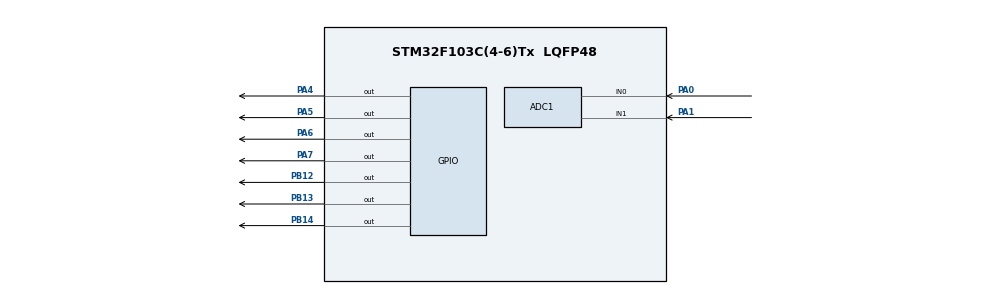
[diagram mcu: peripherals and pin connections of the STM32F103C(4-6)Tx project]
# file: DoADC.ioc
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ADC1.Channel-0\#ChannelRegularConversion=ADC_CHANNEL_0
ADC1.NbrOfConversionFlag=1
ADC1.Rank-0\#ChannelRegularConversion=1
ADC1.SamplingTime-0\#ChannelRegularConversion=ADC_SAMPLETIME_1CYCLE_5
ADC1.master=1
Mcu.Family=STM32F1
Mcu.Name=STM32F103C(4-6)Tx
Mcu.Package=LQFP48
NVIC.PriorityGroup=NVIC_PRIORITYGROUP_4
PA0-WKUP.Signal=ADCx_IN0
PA1.Signal=ADCx_IN1
PA13.Mode=Serial_Wire
PA13.Signal=SYS_JTMS-SWDIO
PA14.Mode=Serial_Wire
PA14.Signal=SYS_JTCK-SWCLK
PA4.Signal=GPIO_Output
PA5.Signal=GPIO_Output
PA6.Signal=GPIO_Output
PA7.Signal=GPIO_Output
PB12.Signal=GPIO_Output
PB13.Signal=GPIO_Output
PB14.Signal=GPIO_Output
ProjectManager.HeapSize=0x200
ProjectManager.StackSize=0x400
ProjectManager.TargetToolchain=MDK-ARM V5
RCC.APB1Freq_Value=8000000
RCC.APB2Freq_Value=8000000
SH.ADCx_IN0.0=ADC1_IN0,IN0
SH.ADCx_IN1.0=ADC1_IN1,IN1
board=custom

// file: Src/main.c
/**
  ******************************************************************************
  * @file           : main.c
  * @brief          : Main program body
  ******************************************************************************
  ** This notice applies to any and all portions of this file
  * that are not between comment pairs USER CODE BEGIN and
  * USER CODE END. Other portions of this file, whether
  * inserted by the user or by software development tools
  * are owned by their respective copyright owners.
  *
  * COPYRIGHT(c) 2018 STMicroelectronics
  *
  * Redistribution and use in source and binary forms, with or without modification,
  * are permitted provided that the following conditions are met:
  *   1. Redistributions of source code must retain the above copyright notice,
  *      this list of conditions and the following disclaimer.
  *   2. Redistributions in binary form must reproduce the above copyright notice,
  *      this list of conditions and the following disclaimer in the documentation
  *      and/or other materials provided with the distribution.
  *   3. Neither the name of STMicroelectronics nor the names of its contributors
  *      may be used to endorse or promote products derived from this software
  *      without specific prior written permission.
  *
  * THIS SOFTWARE IS PROVIDED BY THE COPYRIGHT HOLDERS AND CONTRIBUTORS "AS IS"
  * AND ANY EXPRESS OR IMPLIED WARRANTIES, INCLUDING, BUT NOT LIMITED TO, THE
  * IMPLIED WARRANTIES OF MERCHANTABILITY AND FITNESS FOR A PARTICULAR PURPOSE ARE
  * DISCLAIMED. IN NO EVENT SHALL THE COPYRIGHT HOLDER OR CONTRIBUTORS BE LIABLE
  * FOR ANY DIRECT, INDIRECT, INCIDENTAL, SPECIAL, EXEMPLARY, OR CONSEQUENTIAL
  * DAMAGES (INCLUDING, BUT NOT LIMITED TO, PROCUREMENT OF SUBSTITUTE GOODS OR
  * SERVICES; LOSS OF USE, DATA, OR PROFITS; OR BUSINESS INTERRUPTION) HOWEVER
  * CAUSED AND ON ANY THEORY OF LIABILITY, WHETHER IN CONTRACT, STRICT LIABILITY,
  * OR TORT (INCLUDING NEGLIGENCE OR OTHERWISE) ARISING IN ANY WAY OUT OF THE USE
  * OF THIS SOFTWARE, EVEN IF ADVISED OF THE POSSIBILITY OF SUCH DAMAGE.
  *
  ******************************************************************************
  */
#include "main.h"
#include "stm32f1xx_hal.h"

/* USER CODE BEGIN Includes */

#include "textLCD.h"

/* USER CODE END Includes */

ADC_HandleTypeDef hadc1;

/* USER CODE BEGIN PV */
/* Private variables ---------------------------------------------------------*/

char lcdBuffer[32];

__IO uint32_t gtAdc1;
__IO uint32_t gtAdc2;

float gtNhietDo;
float gtDienAp;

/* USER CODE END PV */

void SystemClock_Config(void);
static void MX_GPIO_Init(void);
static void MX_ADC1_Init(void);

/* USER CODE BEGIN PFP */
/* Private function prototypes -----------------------------------------------*/

/* USER CODE END PFP */

int main(void)
{

  /* MCU Configuration----------------------------------------------------------*/

  /* Reset of all peripherals, Initializes the Flash interface and the Systick. */
  HAL_Init();

  /* Configure the system clock */
  SystemClock_Config();

  /* Initialize all configured peripherals */
  MX_GPIO_Init();
  MX_ADC1_Init();
  /* USER CODE BEGIN 2 */

  lcd_init();

  /* USER CODE END 2 */

  /* Infinite loop */
  /* USER CODE BEGIN WHILE */
  while (1)
  {
    HAL_ADC_Start(&hadc1); // Khoi tao chuyen doi cua bo ADC1
    if(HAL_ADC_PollForConversion(&hadc1, 1000) == HAL_OK)
    {
      gtAdc1 = HAL_ADC_GetValue(&hadc1);

      sprintf(lcdBuffer, "ADC0: %0.4d", gtAdc1);
      lcd_gotoxy(1,1);
      lcd_puts(lcdBuffer);

      HAL_Delay(100);
    }
    HAL_ADC_Stop(&hadc1);

    gtDienAp = ((float)gtAdc1/4095) * 3.3;
    sprintf(lcdBuffer, "DienAp: %0.3f", gtDienAp);
    lcd_gotoxy(1,2);
    lcd_puts(lcdBuffer);

    HAL_Delay(100);

  /* USER CODE END WHILE */

  }

}

void SystemClock_Config(void)
{

  RCC_OscInitTypeDef RCC_OscInitStruct;
  RCC_ClkInitTypeDef RCC_ClkInitStruct;
  RCC_PeriphCLKInitTypeDef PeriphClkInit;

    /**Initializes the CPU, AHB and APB busses clocks
    */
  RCC_OscInitStruct.OscillatorType = RCC_OSCILLATORTYPE_HSI;
  RCC_OscInitStruct.HSIState = RCC_HSI_ON;
  RCC_OscInitStruct.HSICalibrationValue = 16;
  RCC_OscInitStruct.PLL.PLLState = RCC_PLL_NONE;
  if (HAL_RCC_OscConfig(&RCC_OscInitStruct) != HAL_OK)
  {
    _Error_Handler(__FILE__, __LINE__);
  }

    /**Initializes the CPU, AHB and APB busses clocks
    */
  RCC_ClkInitStruct.ClockType = RCC_CLOCKTYPE_HCLK|RCC_CLOCKTYPE_SYSCLK
                              |RCC_CLOCKTYPE_PCLK1|RCC_CLOCKTYPE_PCLK2;
  RCC_ClkInitStruct.SYSCLKSource = RCC_SYSCLKSOURCE_HSI;
  RCC_ClkInitStruct.AHBCLKDivider = RCC_SYSCLK_DIV1;
  RCC_ClkInitStruct.APB1CLKDivider = RCC_HCLK_DIV1;
  RCC_ClkInitStruct.APB2CLKDivider = RCC_HCLK_DIV1;

  if (HAL_RCC_ClockConfig(&RCC_ClkInitStruct, FLASH_LATENCY_0) != HAL_OK)
  {
    _Error_Handler(__FILE__, __LINE__);
  }

  PeriphClkInit.PeriphClockSelection = RCC_PERIPHCLK_ADC;
  PeriphClkInit.AdcClockSelection = RCC_ADCPCLK2_DIV2;
  if (HAL_RCCEx_PeriphCLKConfig(&PeriphClkInit) != HAL_OK)
  {
    _Error_Handler(__FILE__, __LINE__);
  }

    /**Configure the Systick interrupt time
    */
  HAL_SYSTICK_Config(HAL_RCC_GetHCLKFreq()/1000);

    /**Configure the Systick
    */
  HAL_SYSTICK_CLKSourceConfig(SYSTICK_CLKSOURCE_HCLK);

  /* SysTick_IRQn interrupt configuration */
  HAL_NVIC_SetPriority(SysTick_IRQn, 0, 0);
}

/* ADC1 init function */
static void MX_ADC1_Init(void)
{

  ADC_ChannelConfTypeDef sConfig;

    /**Common config
    */
  hadc1.Instance = ADC1;
  hadc1.Init.ScanConvMode = ADC_SCAN_DISABLE;
  hadc1.Init.ContinuousConvMode = DISABLE;
  hadc1.Init.DiscontinuousConvMode = DISABLE;
  hadc1.Init.ExternalTrigConv = ADC_SOFTWARE_START;
  hadc1.Init.DataAlign = ADC_DATAALIGN_RIGHT;
  hadc1.Init.NbrOfConversion = 1;
  if (HAL_ADC_Init(&hadc1) != HAL_OK)
  {
    _Error_Handler(__FILE__, __LINE__);
  }

    /**Configure Regular Channel
    */
  sConfig.Channel = ADC_CHANNEL_0;
  sConfig.Rank = ADC_REGULAR_RANK_1;
  sConfig.SamplingTime = ADC_SAMPLETIME_1CYCLE_5;
  if (HAL_ADC_ConfigChannel(&hadc1, &sConfig) != HAL_OK)
  {
    _Error_Handler(__FILE__, __LINE__);
  }

}

/** Configure pins as
        * Analog
        * Input
        * Output
        * EVENT_OUT
        * EXTI
*/
static void MX_GPIO_Init(void)
{

  GPIO_InitTypeDef GPIO_InitStruct;

  /* GPIO Ports Clock Enable */
  __HAL_RCC_GPIOA_CLK_ENABLE();
  __HAL_RCC_GPIOB_CLK_ENABLE();

  /*Configure GPIO pin Output Level */
  HAL_GPIO_WritePin(GPIOA, GPIO_PIN_4|GPIO_PIN_5|GPIO_PIN_6|GPIO_PIN_7, GPIO_PIN_RESET);

  /*Configure GPIO pin Output Level */
  HAL_GPIO_WritePin(GPIOB, GPIO_PIN_12|GPIO_PIN_13|GPIO_PIN_14, GPIO_PIN_RESET);

  /*Configure GPIO pins : PA4 PA5 PA6 PA7 */
  GPIO_InitStruct.Pin = GPIO_PIN_4|GPIO_PIN_5|GPIO_PIN_6|GPIO_PIN_7;
  GPIO_InitStruct.Mode = GPIO_MODE_OUTPUT_PP;
  GPIO_InitStruct.Pull = GPIO_NOPULL;
  GPIO_InitStruct.Speed = GPIO_SPEED_FREQ_LOW;
  HAL_GPIO_Init(GPIOA, &GPIO_InitStruct);

  /*Configure GPIO pins : PB12 PB13 PB14 */
  GPIO_InitStruct.Pin = GPIO_PIN_12|GPIO_PIN_13|GPIO_PIN_14;
  GPIO_InitStruct.Mode = GPIO_MODE_OUTPUT_PP;
  GPIO_InitStruct.Pull = GPIO_NOPULL;
  GPIO_InitStruct.Speed = GPIO_SPEED_FREQ_LOW;
  HAL_GPIO_Init(GPIOB, &GPIO_InitStruct);

}

void _Error_Handler(char *file, int line)
{
  while(1)
  {
  }
}

/************************ (C) COPYRIGHT STMicroelectronics *****END OF FILE****/
